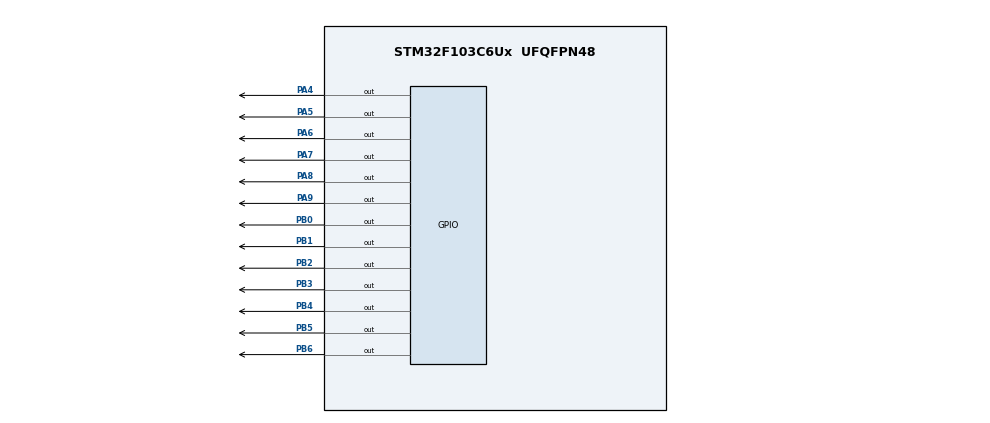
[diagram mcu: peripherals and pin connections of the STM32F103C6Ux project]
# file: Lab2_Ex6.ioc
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Mcu.Family=STM32F1
Mcu.Name=STM32F103C6Ux
Mcu.Package=UFQFPN48
NVIC.PriorityGroup=NVIC_PRIORITYGROUP_4
NVIC.TIM2_IRQn=true\:0\:0\:false\:false\:true\:true\:true
PA4.Signal=GPIO_Output
PA5.Signal=GPIO_Output
PA6.Signal=GPIO_Output
PA7.Signal=GPIO_Output
PA8.Signal=GPIO_Output
PA9.Signal=GPIO_Output
PB0.Signal=GPIO_Output
PB1.Signal=GPIO_Output
PB2.Signal=GPIO_Output
PB3.Signal=GPIO_Output
PB4.Signal=GPIO_Output
PB5.Signal=GPIO_Output
PB6.Signal=GPIO_Output
ProjectManager.HeapSize=0x200
ProjectManager.StackSize=0x400
ProjectManager.TargetToolchain=STM32CubeIDE
RCC.APB1Freq_Value=8000000
RCC.APB2Freq_Value=8000000
TIM2.Period=9
TIM2.Prescaler=7999
VP_SYS_VS_ND.Mode=No_Debug
VP_TIM2_VS_ClockSourceINT.Mode=Internal
board=custom

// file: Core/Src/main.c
/* USER CODE BEGIN Header */
/**
  ******************************************************************************
  * @file           : main.c
  * @brief          : Main program body (Exercise 6 - Software Timer & Clock)
  ******************************************************************************
  */
/* USER CODE END Header */
#include "main.h"

TIM_HandleTypeDef htim2;

/* USER CODE BEGIN PV */
const int MAX_LED = 4;
int index_led = 0;
int led_buffer[4] = {0, 0, 0, 0};

int hour = 15;
int minute = 59;
int second = 50;

const int TIMER_CYCLE = 10;

int timer0_counter = 0;
int timer0_flag = 0;

int timer1_counter = 0;
int timer1_flag = 0;
/* USER CODE END PV */

void SystemClock_Config(void);
static void MX_TIM2_Init(void);
static void MX_GPIO_Init(void);
/* USER CODE BEGIN PFP */
void display7SEG(int num);
void update7SEG(int index);
void updateClockBuffer(void);

void setTimer0(int duration);
void setTimer1(int duration);
void timer_run(void);
/* USER CODE END PFP */

/* USER CODE BEGIN 0 */
const uint8_t SEG_CODES[10] = {
    0x40, 0x79, 0x24, 0x30, 0x19,
    0x12, 0x02, 0x78, 0x00, 0x10
};

void setTimer0(int duration) {
    timer0_counter = duration / TIMER_CYCLE;
    timer0_flag = 0;
}

void setTimer1(int duration) {
    timer1_counter = duration / TIMER_CYCLE;
    timer1_flag = 0;
}

void timer_run() {
    if (timer0_counter > 0) {
        timer0_counter--;
        if (timer0_counter == 0) timer0_flag = 1;
    }
    if (timer1_counter > 0) {
        timer1_counter--;
        if (timer1_counter == 0) timer1_flag = 1;
    }
}

void display7SEG(int num) {
    if(num < 0 || num > 9) return;
    uint8_t code = SEG_CODES[num];
    HAL_GPIO_WritePin(GPIOB, GPIO_PIN_0, ((code >> 0) & 0x01) ? GPIO_PIN_SET : GPIO_PIN_RESET);
    HAL_GPIO_WritePin(GPIOB, GPIO_PIN_1, ((code >> 1) & 0x01) ? GPIO_PIN_SET : GPIO_PIN_RESET);
    HAL_GPIO_WritePin(GPIOB, GPIO_PIN_2, ((code >> 2) & 0x01) ? GPIO_PIN_SET : GPIO_PIN_RESET);
    HAL_GPIO_WritePin(GPIOB, GPIO_PIN_3, ((code >> 3) & 0x01) ? GPIO_PIN_SET : GPIO_PIN_RESET);
    HAL_GPIO_WritePin(GPIOB, GPIO_PIN_4, ((code >> 4) & 0x01) ? GPIO_PIN_SET : GPIO_PIN_RESET);
    HAL_GPIO_WritePin(GPIOB, GPIO_PIN_5, ((code >> 5) & 0x01) ? GPIO_PIN_SET : GPIO_PIN_RESET);
    HAL_GPIO_WritePin(GPIOB, GPIO_PIN_6, ((code >> 6) & 0x01) ? GPIO_PIN_SET : GPIO_PIN_RESET);
}

void update7SEG(int index) {
    switch (index) {
        case 0:
            display7SEG(led_buffer[0]);
            HAL_GPIO_WritePin(GPIOA, GPIO_PIN_6, GPIO_PIN_RESET);
            break;
        case 1:
            display7SEG(led_buffer[1]);
            HAL_GPIO_WritePin(GPIOA, GPIO_PIN_7, GPIO_PIN_RESET);
            break;
        case 2:
            display7SEG(led_buffer[2]);
            HAL_GPIO_WritePin(GPIOA, GPIO_PIN_8, GPIO_PIN_RESET);
            break;
        case 3:
            display7SEG(led_buffer[3]);
            HAL_GPIO_WritePin(GPIOA, GPIO_PIN_9, GPIO_PIN_RESET);
            break;
        default:
            break;
    }
}

void updateClockBuffer() {
    led_buffer[0] = hour / 10;
    led_buffer[1] = hour % 10;
    led_buffer[2] = minute / 10;
    led_buffer[3] = minute % 10;
}
/* USER CODE END 0 */

int main(void)
{
  HAL_Init();
  SystemClock_Config();
  MX_TIM2_Init();
  MX_GPIO_Init();

  /* USER CODE BEGIN 2 */
  HAL_TIM_Base_Start_IT(&htim2);

  updateClockBuffer();

  setTimer0(1000);
  setTimer1(10);
  /* USER CODE END 2 */

  /* Infinite loop */
  while (1)
  {
      /* USER CODE BEGIN 3 */

      if (timer0_flag == 1) {
          setTimer0(1000);
          HAL_GPIO_TogglePin(GPIOA, GPIO_PIN_4);

          second++;
          if (second >= 60) {
              second = 0;
              minute++;
              if (minute >= 60) {
                  minute = 0;
                  hour++;
                  if (hour >= 24) {
                      hour = 0;
                  }
              }
          }
          updateClockBuffer();
      }

      if (timer1_flag == 1) {
          setTimer1(10);

          HAL_GPIO_WritePin(GPIOA, GPIO_PIN_6 | GPIO_PIN_7 | GPIO_PIN_8 | GPIO_PIN_9, GPIO_PIN_SET);

          update7SEG(index_led);

          index_led++;
          if (index_led >= MAX_LED) index_led = 0;
      }

      /* USER CODE END 3 */
  }
}

void SystemClock_Config(void)
{
  RCC_OscInitTypeDef RCC_OscInitStruct = {0};
  RCC_ClkInitTypeDef RCC_ClkInitStruct = {0};

  RCC_OscInitStruct.OscillatorType = RCC_OSCILLATORTYPE_HSI;
  RCC_OscInitStruct.HSIState = RCC_HSI_ON;
  RCC_OscInitStruct.HSICalibrationValue = RCC_HSICALIBRATION_DEFAULT;
  RCC_OscInitStruct.PLL.PLLState = RCC_PLL_NONE;
  if (HAL_RCC_OscConfig(&RCC_OscInitStruct) != HAL_OK)
  {
    Error_Handler();
  }
  RCC_ClkInitStruct.ClockType = RCC_CLOCKTYPE_HCLK|RCC_CLOCKTYPE_SYSCLK
                              |RCC_CLOCKTYPE_PCLK1|RCC_CLOCKTYPE_PCLK2;
  RCC_ClkInitStruct.SYSCLKSource = RCC_SYSCLKSOURCE_HSI;
  RCC_ClkInitStruct.AHBCLKDivider = RCC_SYSCLK_DIV1;
  RCC_ClkInitStruct.APB1CLKDivider = RCC_HCLK_DIV1;
  RCC_ClkInitStruct.APB2CLKDivider = RCC_HCLK_DIV1;

  if (HAL_RCC_ClockConfig(&RCC_ClkInitStruct, FLASH_LATENCY_0) != HAL_OK)
  {
    Error_Handler();
  }
}

static void MX_TIM2_Init(void)
{
  TIM_ClockConfigTypeDef sClockSourceConfig = {0};
  TIM_MasterConfigTypeDef sMasterConfig = {0};

  htim2.Instance = TIM2;
  htim2.Init.Prescaler = 7999;
  htim2.Init.CounterMode = TIM_COUNTERMODE_UP;
  htim2.Init.Period = 9;
  htim2.Init.ClockDivision = TIM_CLOCKDIVISION_DIV1;
  htim2.Init.AutoReloadPreload = TIM_AUTORELOAD_PRELOAD_DISABLE;
  if (HAL_TIM_Base_Init(&htim2) != HAL_OK)
  {
    Error_Handler();
  }
  sClockSourceConfig.ClockSource = TIM_CLOCKSOURCE_INTERNAL;
  if (HAL_TIM_ConfigClockSource(&htim2, &sClockSourceConfig) != HAL_OK)
  {
    Error_Handler();
  }
  sMasterConfig.MasterOutputTrigger = TIM_TRGO_RESET;
  sMasterConfig.MasterSlaveMode = TIM_MASTERSLAVEMODE_DISABLE;
  if (HAL_TIMEx_MasterConfigSynchronization(&htim2, &sMasterConfig) != HAL_OK)
  {
    Error_Handler();
  }
}

static void MX_GPIO_Init(void)
{
  GPIO_InitTypeDef GPIO_InitStruct = {0};

  __HAL_RCC_GPIOA_CLK_ENABLE();
  __HAL_RCC_GPIOB_CLK_ENABLE();

  HAL_GPIO_WritePin(GPIOA, GPIO_PIN_4, GPIO_PIN_RESET);
  HAL_GPIO_WritePin(GPIOA, GPIO_PIN_6|GPIO_PIN_7|GPIO_PIN_8|GPIO_PIN_9, GPIO_PIN_SET);

  HAL_GPIO_WritePin(GPIOB, GPIO_PIN_0|GPIO_PIN_1|GPIO_PIN_2|GPIO_PIN_3|GPIO_PIN_4
                          |GPIO_PIN_5|GPIO_PIN_6, GPIO_PIN_SET);

  GPIO_InitStruct.Pin = GPIO_PIN_4|GPIO_PIN_6|GPIO_PIN_7|GPIO_PIN_8|GPIO_PIN_9;
  GPIO_InitStruct.Mode = GPIO_MODE_OUTPUT_PP;
  GPIO_InitStruct.Pull = GPIO_NOPULL;
  GPIO_InitStruct.Speed = GPIO_SPEED_FREQ_LOW;
  HAL_GPIO_Init(GPIOA, &GPIO_InitStruct);

  GPIO_InitStruct.Pin = GPIO_PIN_0|GPIO_PIN_1|GPIO_PIN_2|GPIO_PIN_3|GPIO_PIN_4
                          |GPIO_PIN_5|GPIO_PIN_6;
  GPIO_InitStruct.Mode = GPIO_MODE_OUTPUT_PP;
  GPIO_InitStruct.Pull = GPIO_NOPULL;
  GPIO_InitStruct.Speed = GPIO_SPEED_FREQ_LOW;
  HAL_GPIO_Init(GPIOB, &GPIO_InitStruct);
}

/* USER CODE BEGIN 4 */
void HAL_TIM_PeriodElapsedCallback(TIM_HandleTypeDef *htim)
{
    if (htim->Instance == TIM2) {
        timer_run();
    }
}
/* USER CODE END 4 */

void Error_Handler(void)
{
  __disable_irq();
  while (1)
  {
  }
}
